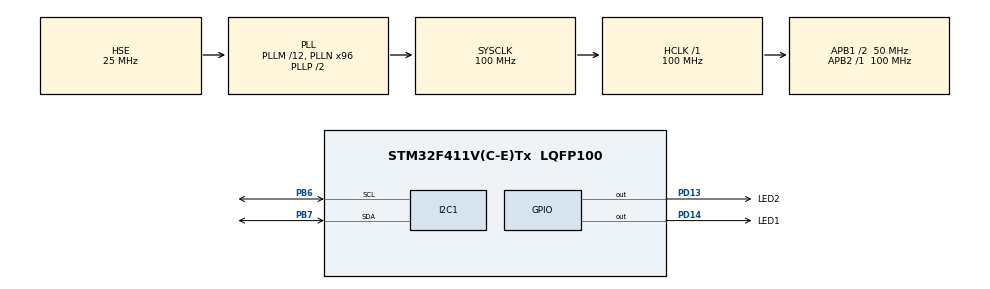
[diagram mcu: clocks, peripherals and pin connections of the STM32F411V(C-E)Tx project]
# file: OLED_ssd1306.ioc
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Mcu.Family=STM32F4
Mcu.Name=STM32F411V(C-E)Tx
Mcu.Package=LQFP100
NVIC.PriorityGroup=NVIC_PRIORITYGROUP_4
PA13.Mode=Serial_Wire
PA13.Signal=SYS_JTMS-SWDIO
PA14.Mode=Serial_Wire
PA14.Signal=SYS_JTCK-SWCLK
PB6.GPIO_Pu=GPIO_PULLUP
PB6.Mode=I2C
PB6.Signal=I2C1_SCL
PB7.GPIO_Pu=GPIO_PULLUP
PB7.Mode=I2C
PB7.Signal=I2C1_SDA
PD13.GPIO_Label=LED2
PD13.Signal=GPIO_Output
PD14.GPIO_Label=LED1
PD14.Signal=GPIO_Output
PH0\ -\ OSC_IN.Mode=HSE-External-Oscillator
PH0\ -\ OSC_IN.Signal=RCC_OSC_IN
PH1\ -\ OSC_OUT.Mode=HSE-External-Oscillator
PH1\ -\ OSC_OUT.Signal=RCC_OSC_OUT
ProjectManager.HeapSize=0x200
ProjectManager.StackSize=0x400
ProjectManager.TargetToolchain=STM32CubeIDE
RCC.48MHZClocksFreq_Value=50000000
RCC.AHBFreq_Value=100000000
RCC.APB1CLKDivider=RCC_HCLK_DIV2
RCC.APB1Freq_Value=50000000
RCC.APB1TimFreq_Value=100000000
RCC.APB2Freq_Value=100000000
RCC.APB2TimFreq_Value=100000000
RCC.CortexFreq_Value=100000000
RCC.HCLKFreq_Value=100000000
RCC.HSE_VALUE=25000000
RCC.HSI_VALUE=16000000
RCC.LSE_VALUE=32768
RCC.PLLM=12
RCC.PLLN=96
RCC.PLLSourceVirtual=RCC_PLLSOURCE_HSE
RCC.SYSCLKFreq_VALUE=100000000
RCC.SYSCLKSource=RCC_SYSCLKSOURCE_PLLCLK
RCC.VCOOutputFreq_Value=200000000
board=custom

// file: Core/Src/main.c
/* USER CODE BEGIN Header */
/**
  ******************************************************************************
  * @file           : main.c
  * @brief          : Main program body
  ******************************************************************************
  * @attention
  *
  * Copyright (c) 2024 STMicroelectronics.
  * All rights reserved.
  *
  * This software is licensed under terms that can be found in the LICENSE file
  * in the root directory of this software component.
  * If no LICENSE file comes with this software, it is provided AS-IS.
  *
  ******************************************************************************
  */
/* USER CODE END Header */
#include "main.h"

/* USER CODE BEGIN Includes */
#include "fonts.h"
#include "ssd1306.h"
/* USER CODE END Includes */

I2C_HandleTypeDef hi2c1;

void SystemClock_Config(void);
static void MX_GPIO_Init(void);
static void MX_I2C1_Init(void);

int main(void)
{

  /* MCU Configuration--------------------------------------------------------*/

  /* Reset of all peripherals, Initializes the Flash interface and the Systick. */
  HAL_Init();

  /* Configure the system clock */
  SystemClock_Config();

  /* Initialize all configured peripherals */
  MX_GPIO_Init();
  MX_I2C1_Init();
  /* USER CODE BEGIN 2 */
  // Init lcd using one of the stm32HAL i2c typedefs
    if (ssd1306_Init(&hi2c1) != 0)
    {
      Error_Handler();
    }

    HAL_Delay(100);

    ssd1306_Fill(Black);
    ssd1306_UpdateScreen(&hi2c1);

    HAL_Delay(100);

    ssd1306_SetCursor(0, 3);
    ssd1306_WriteString("Start", Font_7x10, White);

    ssd1306_SetCursor(100, 3);
    ssd1306_WriteString("End", Font_7x10, White);

    ssd1306_UpdateScreen(&hi2c1);
  /* USER CODE END 2 */

  /* Infinite loop */
  while (1)
  {

    /* USER CODE BEGIN 3 */
	  HAL_GPIO_TogglePin(LED1_GPIO_Port, LED1_Pin);
	  HAL_Delay(1000);
  }
  /* USER CODE END 3 */
}

void SystemClock_Config(void)
{
  RCC_OscInitTypeDef RCC_OscInitStruct = {0};
  RCC_ClkInitTypeDef RCC_ClkInitStruct = {0};

  /** Configure the main internal regulator output voltage
  */
  __HAL_RCC_PWR_CLK_ENABLE();
  __HAL_PWR_VOLTAGESCALING_CONFIG(PWR_REGULATOR_VOLTAGE_SCALE1);

  /** Initializes the RCC Oscillators according to the specified parameters
  * in the RCC_OscInitTypeDef structure.
  */
  RCC_OscInitStruct.OscillatorType = RCC_OSCILLATORTYPE_HSE;
  RCC_OscInitStruct.HSEState = RCC_HSE_ON;
  RCC_OscInitStruct.PLL.PLLState = RCC_PLL_ON;
  RCC_OscInitStruct.PLL.PLLSource = RCC_PLLSOURCE_HSE;
  RCC_OscInitStruct.PLL.PLLM = 12;
  RCC_OscInitStruct.PLL.PLLN = 96;
  RCC_OscInitStruct.PLL.PLLP = RCC_PLLP_DIV2;
  RCC_OscInitStruct.PLL.PLLQ = 4;
  if (HAL_RCC_OscConfig(&RCC_OscInitStruct) != HAL_OK)
  {
    Error_Handler();
  }

  /** Initializes the CPU, AHB and APB buses clocks
  */
  RCC_ClkInitStruct.ClockType = RCC_CLOCKTYPE_HCLK|RCC_CLOCKTYPE_SYSCLK
                              |RCC_CLOCKTYPE_PCLK1|RCC_CLOCKTYPE_PCLK2;
  RCC_ClkInitStruct.SYSCLKSource = RCC_SYSCLKSOURCE_PLLCLK;
  RCC_ClkInitStruct.AHBCLKDivider = RCC_SYSCLK_DIV1;
  RCC_ClkInitStruct.APB1CLKDivider = RCC_HCLK_DIV2;
  RCC_ClkInitStruct.APB2CLKDivider = RCC_HCLK_DIV1;

  if (HAL_RCC_ClockConfig(&RCC_ClkInitStruct, FLASH_LATENCY_3) != HAL_OK)
  {
    Error_Handler();
  }
}

static void MX_I2C1_Init(void)
{

  hi2c1.Instance = I2C1;
  hi2c1.Init.ClockSpeed = 100000;
  hi2c1.Init.DutyCycle = I2C_DUTYCYCLE_2;
  hi2c1.Init.OwnAddress1 = 0;
  hi2c1.Init.AddressingMode = I2C_ADDRESSINGMODE_7BIT;
  hi2c1.Init.DualAddressMode = I2C_DUALADDRESS_DISABLE;
  hi2c1.Init.OwnAddress2 = 0;
  hi2c1.Init.GeneralCallMode = I2C_GENERALCALL_DISABLE;
  hi2c1.Init.NoStretchMode = I2C_NOSTRETCH_DISABLE;
  if (HAL_I2C_Init(&hi2c1) != HAL_OK)
  {
    Error_Handler();
  }

}

static void MX_GPIO_Init(void)
{
  GPIO_InitTypeDef GPIO_InitStruct = {0};

  /* GPIO Ports Clock Enable */
  __HAL_RCC_GPIOH_CLK_ENABLE();
  __HAL_RCC_GPIOD_CLK_ENABLE();
  __HAL_RCC_GPIOA_CLK_ENABLE();
  __HAL_RCC_GPIOB_CLK_ENABLE();

  /*Configure GPIO pin Output Level */
  HAL_GPIO_WritePin(GPIOD, LED2_Pin|LED1_Pin, GPIO_PIN_RESET);

  /*Configure GPIO pins : LED2_Pin LED1_Pin */
  GPIO_InitStruct.Pin = LED2_Pin|LED1_Pin;
  GPIO_InitStruct.Mode = GPIO_MODE_OUTPUT_PP;
  GPIO_InitStruct.Pull = GPIO_NOPULL;
  GPIO_InitStruct.Speed = GPIO_SPEED_FREQ_LOW;
  HAL_GPIO_Init(GPIOD, &GPIO_InitStruct);

}

void Error_Handler(void)
{
  /* USER CODE BEGIN Error_Handler_Debug */
  /* User can add his own implementation to report the HAL error return state */
  __disable_irq();
  while (1)
  {
	HAL_GPIO_TogglePin(LED2_GPIO_Port, LED2_Pin);

	for (int i = 0; i < 10000000; i++)
	{
		__asm__("nop");
	}
  }
  /* USER CODE END Error_Handler_Debug */
}
